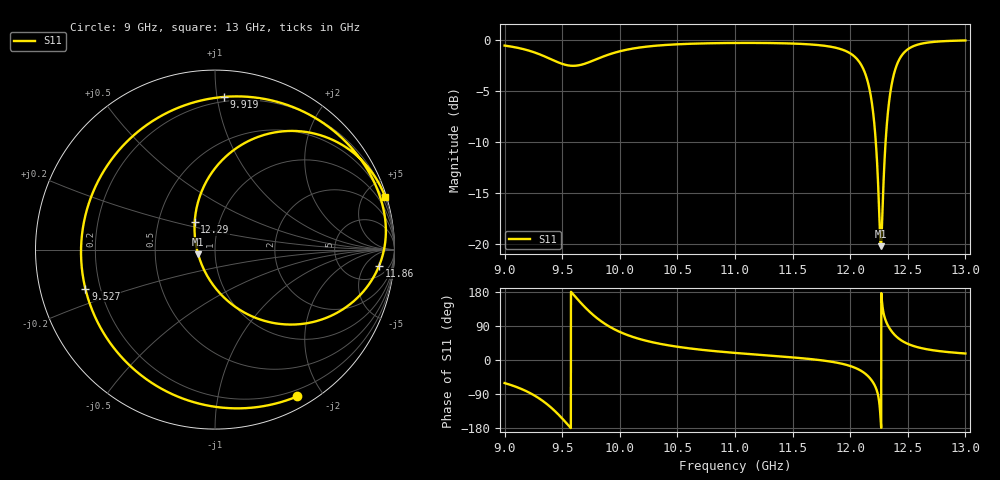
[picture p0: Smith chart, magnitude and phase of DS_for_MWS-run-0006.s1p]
! TOUCHSTONE file generated by CST DESIGN STUDIO
! Date and time: Tue Feb  4 17:39:18 2025
! Project name: C:\Work\MatlabApps\UnitCellOptimizationMatlab\CST\unitcell.cst
! Tree item: Tasks\Sweep1\SPara1\S-Parameters
! Header version: 2024
! Port assignment regex: !\s*Touchstone port\s*([0-9]+)\s*=\s*(CST MWS port|CST DES external port|CST DES block port)\s*(.+)\s* \(\"(.*)\"\)(\s*mode\s*([0-9]+))?.*
! Touchstone port assignment:
! Touchstone port 1 = CST DES external port 1 ("")
# GHz S MA R 50
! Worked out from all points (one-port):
!   4001 points, 9 GHz to 13 GHz, reference 50 ohm
!   lowest |S11| = -20.2 dB at 12.27 GHz (marker M1), VSWR 1.22, Z = 41.4 - j2.16 ohm
!   |S11| at or under -10 dB: 12.22 GHz to 12.31 GHz (84.9 MHz wide, 0.692 % of centre)
!   S11 on the Smith chart (normalised r, x): 9 GHz: 0.13, -1.70; 9.527 GHz: 0.14, -0.14; 9.919 GHz: 0.17, +1.05; 11.86 GHz: 10, -12; 12.29 GHz: 0.76, +0.24; 13 GHz: 0.16, +6.62
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9  0.9371 -60.8
9.147  0.905 -76.6
9.297  0.8521 -100.8
9.4  0.8046 -124.6
9.5  0.7624 -154.3
9.527  0.7545 -163.2
9.623  0.7472 163.7
9.734  0.7773 128.4
9.821  0.8136 106.0
9.919  0.8525 86.5
10  0.8787 74.1
10.217  0.9239 51.7
10.5  0.9508 35.0
11  0.9654 18.7
11.5  0.9588 6.8
11.857  0.9191 -5.6
12  0.8586 -15.8
12.097  0.7512 -29.0
12.174  0.5491 -48.9
12.214  0.3629 -67.6
12.253  0.136 -114.1
12.266  0.09745 -164.6
12.288  0.1913 126.3
12.324  0.4209 93.2
12.374  0.6596 70.3
12.5  0.8987 42.6
12.676  0.9699 27.8
13  0.9929 17.2
